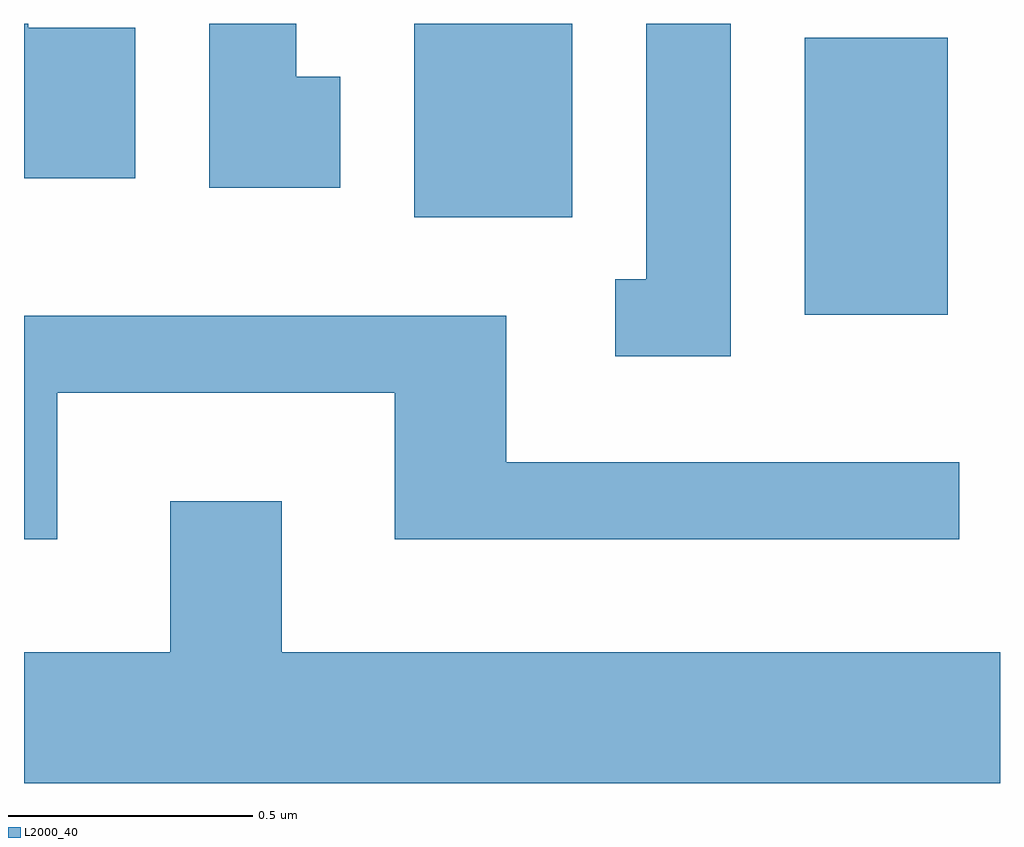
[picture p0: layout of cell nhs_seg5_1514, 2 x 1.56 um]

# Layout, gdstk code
import gdstk
lib = gdstk.Library(unit=1e-6, precision=1e-09)
def R(c, l, rs):  # rectangles x0, y0, x1, y1
    for r in rs: c.add(gdstk.rectangle(r[:2], r[2:], *l))
def P(c, l, *ps):  # polygons
    for p in ps: c.add(gdstk.Polygon(p, *l))
L2000_40 = (2000, 40)

nhs_seg5_1514 = lib.new_cell('nhs_seg5_1514')
R(nhs_seg5_1514, L2000_40, [(198.211,1404.476,198.504,1405.044), (197.411,1404.676,197.734,1405.072)])
P(nhs_seg5_1514, L2000_40, [(196.839,1405.064),(196.62,1405.064),(196.62,1405.072),(196.611,1405.072),(196.611,1404.756),(196.839,1404.756)],
  [(197.259,1404.964),(197.169,1404.964),(197.169,1405.072),(196.991,1405.072),(196.991,1404.736),(197.259,1404.736)],
  [(198.059,1405.072),(197.886,1405.072),(197.886,1404.549),(197.823,1404.549),(197.823,1404.391),(198.059,1404.391)],
  [(196.679,1404.316),(197.371,1404.316),(197.371,1404.016),(198.528,1404.016),(198.528,1404.174),(197.599,1404.174),(197.599,1404.474),(196.611,1404.474),(196.611,1404.016),(196.679,1404.016)],
  [(198.611,1403.784),(197.139,1403.784),(197.139,1404.094),(196.911,1404.094),(196.911,1403.784),(196.611,1403.784),(196.611,1403.516),(198.611,1403.516)])

lib.write_gds('nhs_seg5_1514.gds')
